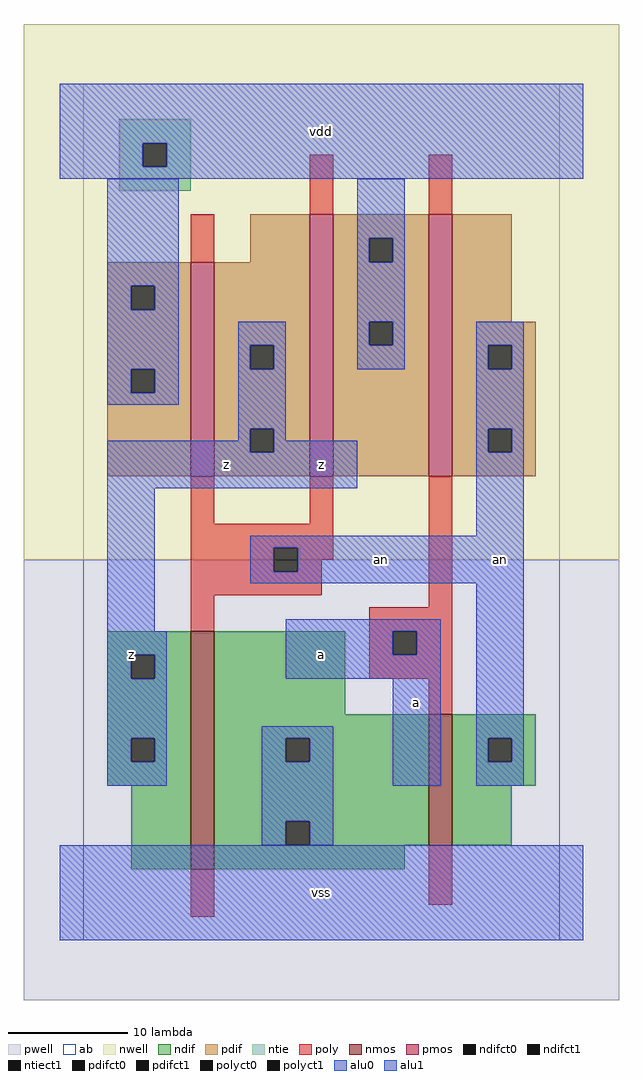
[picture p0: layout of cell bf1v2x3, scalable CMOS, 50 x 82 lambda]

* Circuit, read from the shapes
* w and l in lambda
.subckt bf1v2x3 a an vdd vss z
M1 vss an z VSUBS nfet w=20 l=2
M2 an a vss VSUBS nfet w=11 l=2
M3 z an vdd vdd pfet w=18 l=2
M4 vdd an z vdd pfet w=22 l=2
M5 an a vdd vdd pfet w=22 l=2
.ends

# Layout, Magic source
magic
tech scmos
<< ab >>
rect 0 0 40 72
<< nwell >>
rect -5 32 45 77
<< pwell >>
rect -5 -5 45 32
<< poly >>
rect 19 61 21 66
rect 29 61 31 66
rect 9 57 11 61
rect 9 35 11 39
rect 19 35 21 39
rect 9 33 21 35
rect 9 31 16 33
rect 18 32 21 33
rect 18 31 20 32
rect 9 29 20 31
rect 9 26 11 29
rect 29 28 31 39
rect 24 26 31 28
rect 24 24 26 26
rect 28 24 31 26
rect 24 22 31 24
rect 29 19 31 22
rect 9 2 11 6
rect 29 3 31 8
<< ndif >>
rect 2 24 9 26
rect 2 22 4 24
rect 6 22 9 24
rect 2 17 9 22
rect 2 15 4 17
rect 6 15 9 17
rect 2 13 9 15
rect 4 6 9 13
rect 11 19 22 26
rect 11 17 29 19
rect 11 15 17 17
rect 19 15 29 17
rect 11 10 29 15
rect 11 8 17 10
rect 19 8 29 10
rect 31 17 38 19
rect 31 15 34 17
rect 36 15 38 17
rect 31 13 38 15
rect 31 8 36 13
rect 11 6 27 8
<< pdif >>
rect 14 57 19 61
rect 2 55 9 57
rect 2 53 4 55
rect 6 53 9 55
rect 2 48 9 53
rect 2 46 4 48
rect 6 46 9 48
rect 2 39 9 46
rect 11 50 19 57
rect 11 48 14 50
rect 16 48 19 50
rect 11 43 19 48
rect 11 41 14 43
rect 16 41 19 43
rect 11 39 19 41
rect 21 59 29 61
rect 21 57 24 59
rect 26 57 29 59
rect 21 52 29 57
rect 21 50 24 52
rect 26 50 29 52
rect 21 39 29 50
rect 31 52 36 61
rect 31 50 38 52
rect 31 48 34 50
rect 36 48 38 50
rect 31 43 38 48
rect 31 41 34 43
rect 36 41 38 43
rect 31 39 38 41
<< alu1 >>
rect -2 67 42 72
rect -2 65 5 67
rect 7 65 42 67
rect -2 64 42 65
rect 13 50 17 52
rect 13 48 14 50
rect 16 48 17 50
rect 13 43 17 48
rect 13 42 14 43
rect 2 41 14 42
rect 16 42 17 43
rect 16 41 23 42
rect 2 38 23 41
rect 2 26 6 38
rect 17 26 30 27
rect 2 24 7 26
rect 2 22 4 24
rect 6 22 7 24
rect 17 24 26 26
rect 28 24 30 26
rect 17 22 30 24
rect 2 17 7 22
rect 2 15 4 17
rect 6 15 7 17
rect 2 13 7 15
rect 26 13 30 22
rect -2 0 42 8
<< ntie >>
rect 3 67 9 69
rect 3 65 5 67
rect 7 65 9 67
rect 3 63 9 65
<< nmos >>
rect 9 6 11 26
rect 29 8 31 19
<< pmos >>
rect 9 39 11 57
rect 19 39 21 61
rect 29 39 31 61
<< polyct0 >>
rect 16 31 18 33
<< polyct1 >>
rect 26 24 28 26
<< ndifct0 >>
rect 17 15 19 17
rect 17 8 19 10
rect 34 15 36 17
<< ndifct1 >>
rect 4 22 6 24
rect 4 15 6 17
<< ntiect1 >>
rect 5 65 7 67
<< pdifct0 >>
rect 4 53 6 55
rect 4 46 6 48
rect 24 57 26 59
rect 24 50 26 52
rect 34 48 36 50
rect 34 41 36 43
<< pdifct1 >>
rect 14 48 16 50
rect 14 41 16 43
<< alu0 >>
rect 2 55 8 64
rect 2 53 4 55
rect 6 53 8 55
rect 2 48 8 53
rect 23 59 27 64
rect 23 57 24 59
rect 26 57 27 59
rect 23 52 27 57
rect 2 46 4 48
rect 6 46 8 48
rect 2 45 8 46
rect 23 50 24 52
rect 26 50 27 52
rect 23 48 27 50
rect 33 50 37 52
rect 33 48 34 50
rect 36 48 37 50
rect 33 43 37 48
rect 33 41 34 43
rect 36 41 37 43
rect 33 34 37 41
rect 14 33 37 34
rect 14 31 16 33
rect 18 31 37 33
rect 14 30 37 31
rect 15 17 21 18
rect 15 15 17 17
rect 19 15 21 17
rect 15 10 21 15
rect 33 17 37 30
rect 33 15 34 17
rect 36 15 37 17
rect 33 13 37 15
rect 15 8 17 10
rect 19 8 21 10
<< labels >>
rlabel alu0 25 32 25 32 6 an
rlabel alu0 35 32 35 32 6 an
rlabel alu1 4 24 4 24 6 z
rlabel alu1 12 40 12 40 6 z
rlabel alu1 20 4 20 4 6 vss
rlabel alu1 28 20 28 20 6 a
rlabel alu1 20 24 20 24 6 a
rlabel alu1 20 40 20 40 6 z
rlabel alu1 20 68 20 68 6 vdd
<< end >>
